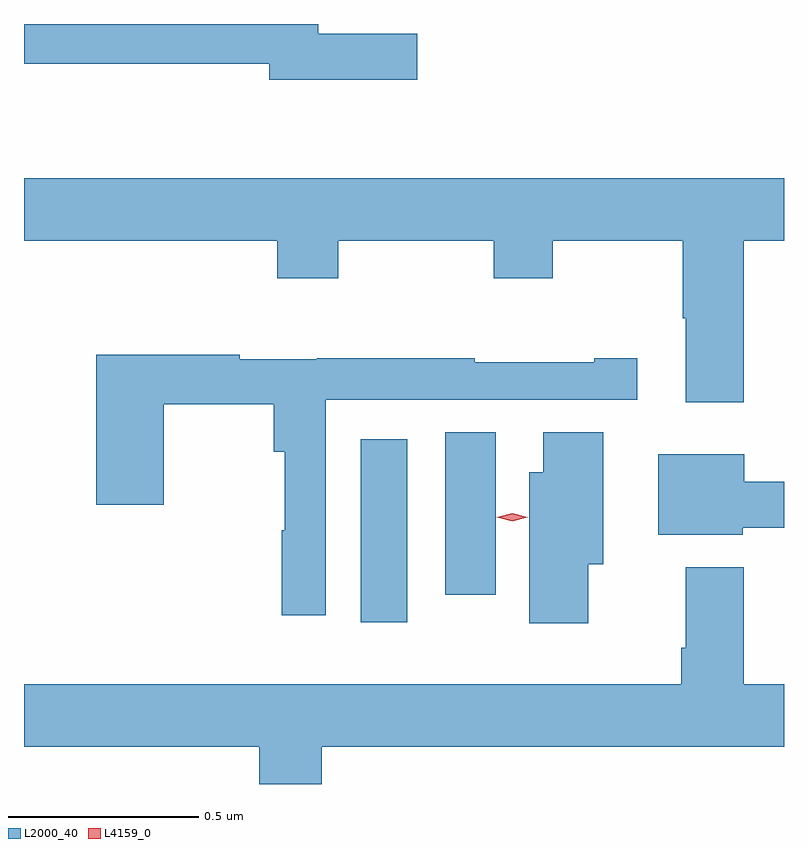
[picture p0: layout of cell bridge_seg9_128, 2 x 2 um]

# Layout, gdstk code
import gdstk
lib = gdstk.Library(unit=1e-6, precision=1e-09)
def R(c, l, rs):  # rectangles x0, y0, x1, y1
    for r in rs: c.add(gdstk.rectangle(r[:2], r[2:], *l))
def P(c, l, *ps):  # polygons
    for p in ps: c.add(gdstk.Polygon(p, *l))
L2000_40 = (2000, 40)
L4159_0 = (4159, 0)

bridge_seg9_128 = lib.new_cell('bridge_seg9_128')
R(bridge_seg9_128, L2000_40, [(451.298,1238.04,451.42,1238.521), (451.52,1238.112,451.654,1238.54)])
P(bridge_seg9_128, L2000_40, [(451.447,1239.589),(451.186,1239.589),(451.186,1239.614),(450.412,1239.614),(450.412,1239.51),(451.058,1239.51),(451.058,1239.467),(451.447,1239.467)],
  [(452.306,1239.044),(452.412,1239.044),(452.412,1239.208),(450.412,1239.208),(450.412,1239.044),(451.079,1239.044),(451.079,1238.945),(451.239,1238.945),(451.239,1239.044),(451.648,1239.044),(451.648,1238.945),(451.803,1238.945),(451.803,1239.044),(452.146,1239.044),(452.146,1238.84),(452.153,1238.84),(452.153,1238.619),(452.306,1238.619)],
  [(451.206,1238.625),(452.026,1238.625),(452.026,1238.734),(451.913,1238.734),(451.913,1238.724),(451.598,1238.724),(451.598,1238.734),(451.182,1238.734),(451.182,1238.732),(450.98,1238.732),(450.98,1238.743),(450.602,1238.743),(450.602,1238.349),(450.78,1238.349),(450.78,1238.614),(451.069,1238.614),(451.069,1238.489),(451.098,1238.489),(451.098,1238.282),(451.09,1238.282),(451.09,1238.058),(451.206,1238.058)],
  [(451.897,1238.192),(451.936,1238.192),(451.936,1238.54),(451.778,1238.54),(451.778,1238.434),(451.742,1238.434),(451.742,1238.037),(451.897,1238.037)],
  [(452.304,1238.288),(452.412,1238.288),(452.412,1238.41),(452.308,1238.41),(452.308,1238.482),(452.081,1238.482),(452.081,1238.27),(452.304,1238.27)],
  [(451.196,1237.712),(452.412,1237.712),(452.412,1237.876),(452.306,1237.876),(452.306,1238.185),(452.153,1238.185),(452.153,1237.972),(452.141,1237.972),(452.141,1237.876),(450.412,1237.876),(450.412,1237.712),(451.031,1237.712),(451.031,1237.614),(451.196,1237.614)])
P(bridge_seg9_128, L4159_0, [(451.697,1238.306),(451.656,1238.316),(451.656,1238.316),(451.656,1238.316),(451.697,1238.326),(451.738,1238.316),(451.738,1238.316),(451.738,1238.316)])

lib.write_gds('bridge_seg9_128.gds')
